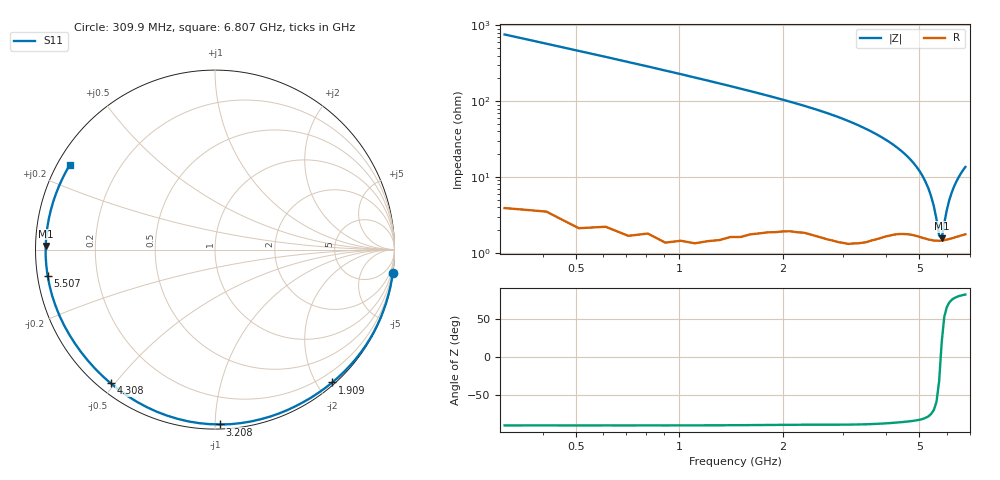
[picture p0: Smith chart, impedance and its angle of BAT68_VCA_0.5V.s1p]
! Infineon Technologies  Discrete & RF Semiconductors
! BAT68
! VCA = 0.5 V
! One-Port S-Parameters
# Hz  S  MA  R  50
!f  S11
!Hz  Mag  Ang
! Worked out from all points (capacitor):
!   66 points, 309.9 MHz to 6.807 GHz, reference 50 ohm
!   read as one part to ground: C = 673 fF near 309.9 MHz
!   lowest |Z| = 1.54 ohm at 5.807 GHz (marker M1)
!   series resonance near 5.77 GHz, so ESL is about 1.1 nH
!   S11 on the Smith chart (normalised r, x): 309.9 MHz: 0, -15; 1.909 GHz: 0.04, -2.22; 3.208 GHz: 0.03, -1.03; 4.308 GHz: 0.04, -0.49; 5.507 GHz: 0.03, -0.08; 6.807 GHz: 0.03, +0.27
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3.0985e8  0.9993 -7.5
5.0975e8  0.999 -12.4
8.096e8  0.9979 -19.7
1.2094e9  0.9962 -29.9
1.6092e9  0.9917 -40.4
1.90905e9  0.9874 -48.6
2.009e9  0.9858 -51.3
2.4088e9  0.9813 -62.8
2.6087e9  0.9802 -68.7
2.8086e9  0.9789 -75.0
3.0085e9  0.9773 -81.6
3.2084e9  0.9746 -88.3
3.4083e9  0.9708 -95.4
3.6082e9  0.9656 -102.5
3.90805e9  0.9564 -113.4
4.10795e9  0.9503 -120.7
4.30785e9  0.9448 -128.0
4.4078e9  0.9428 -131.7
4.6077e9  0.9402 -139.0
4.8076e9  0.9395 -146.2
5.0075e9  0.9406 -153.4
5.2074e9  0.942 -160.6
5.50725e9  0.9442 -171.2
5.8071e9  0.9436 178.8
6.007e9  0.9424 172.4
6.2069e9  0.9408 166.3
6.4068e9  0.9391 160.6
6.8066e9  0.9368 149.9
